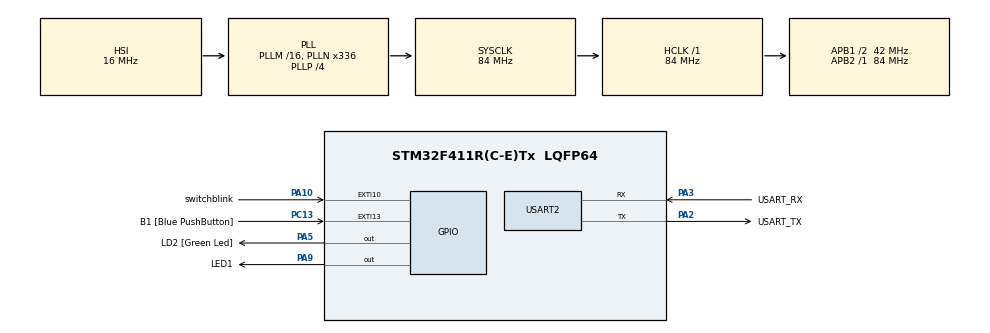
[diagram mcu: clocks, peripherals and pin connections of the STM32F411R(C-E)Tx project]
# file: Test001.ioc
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Mcu.Family=STM32F4
Mcu.Name=STM32F411R(C-E)Tx
Mcu.Package=LQFP64
NVIC.EXTI15_10_IRQn=true\:0\:0\:false\:false\:true\:true\:true\:true
NVIC.PriorityGroup=NVIC_PRIORITYGROUP_0
PA10.GPIO_Label=switchblink
PA10.Signal=GPXTI10
PA13.GPIO_Label=TMS
PA13.Mode=Serial_Wire
PA13.Signal=SYS_JTMS-SWDIO
PA14.GPIO_Label=TCK
PA14.Mode=Serial_Wire
PA14.Signal=SYS_JTCK-SWCLK
PA2.GPIO_Label=USART_TX
PA2.Mode=Asynchronous
PA2.Signal=USART2_TX
PA3.GPIO_Label=USART_RX
PA3.Mode=Asynchronous
PA3.Signal=USART2_RX
PA5.GPIO_Label=LD2 [Green Led]
PA5.Signal=GPIO_Output
PA9.GPIO_Label=LED1
PA9.Signal=GPIO_Output
PB3.GPIO_Label=SWO
PB3.Signal=SYS_JTDO-SWO
PC13-ANTI_TAMP.GPIO_Label=B1 [Blue PushButton]
PC13-ANTI_TAMP.GPIO_ModeDefaultEXTI=GPIO_MODE_IT_RISING
PC13-ANTI_TAMP.Signal=GPXTI13
PC14-OSC32_IN.Mode=LSE-External-Oscillator
PC14-OSC32_IN.Signal=RCC_OSC32_IN
PC15-OSC32_OUT.Mode=LSE-External-Oscillator
PC15-OSC32_OUT.Signal=RCC_OSC32_OUT
PH0\ -\ OSC_IN.Mode=HSE-External-Clock-Source
PH0\ -\ OSC_IN.Signal=RCC_OSC_IN
PH1\ -\ OSC_OUT.Mode=HSE-External-Clock-Source
PH1\ -\ OSC_OUT.Signal=RCC_OSC_OUT
ProjectManager.HeapSize=0x200
ProjectManager.StackSize=0x400
ProjectManager.TargetToolchain=STM32CubeIDE
RCC.48MHZClocksFreq_Value=84000000
RCC.AHBFreq_Value=84000000
RCC.APB1CLKDivider=RCC_HCLK_DIV2
RCC.APB1Freq_Value=42000000
RCC.APB1TimFreq_Value=84000000
RCC.APB2Freq_Value=84000000
RCC.APB2TimFreq_Value=84000000
RCC.CortexFreq_Value=84000000
RCC.FLatency-AdvancedSettings=FLASH_LATENCY_2
RCC.HCLKFreq_Value=84000000
RCC.HSE_VALUE=8000000
RCC.HSI_VALUE=16000000
RCC.PLLN=336
RCC.PLLP=RCC_PLLP_DIV4
RCC.SYSCLKFreq_VALUE=84000000
RCC.SYSCLKSource=RCC_SYSCLKSOURCE_PLLCLK
RCC.VCOOutputFreq_Value=336000000
USART2.VirtualMode=VM_ASYNC
board=NUCLEO-F411RE

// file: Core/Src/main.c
/* USER CODE BEGIN Header */
/**
  ******************************************************************************
  * @file           : main.c
  * @brief          : Main program body
  ******************************************************************************
  * @attention
  *
  * Copyright (c) 2024 STMicroelectronics.
  * All rights reserved.
  *
  * This software is licensed under terms that can be found in the LICENSE file
  * in the root directory of this software component.
  * If no LICENSE file comes with this software, it is provided AS-IS.
  *
  ******************************************************************************
  */
/* USER CODE END Header */
#include "main.h"

UART_HandleTypeDef huart2;

void SystemClock_Config(void);
static void MX_GPIO_Init(void);
static void MX_USART2_UART_Init(void);
/* USER CODE BEGIN PFP */
int ival = 1000;
/* USER CODE END PFP */

/* USER CODE BEGIN 0 */
void Standby()
{
		while(HAL_GPIO_ReadPin(B1_GPIO_Port, B1_Pin)); //wait until B1 == 0 (Press)
}
int mode = 0; // mode = 0 : Stop, mode = 1 : Flash
void HAL_GPIO_EXTI_Callback(uint16_t GPIO_Pin)
{
	  //if(!HAL_GPIO_ReadPin(B1_GPIOPort, B1_Pin))
	switch(GPIO_Pin)
	{
	case B1_Pin :
		mode=mode?0:1;
		break;
	case LED1_Pin :
		ival = (ival <= 200) ? 1000 : ival - 200;
		break;
	}
	}

	 		  //mode = mode?0:1;

/*	 	  }
	 	  if(GPIO_Pin == B1_Pin)
	 		 if(mode == 0)  mode = 1; else mode = 0;
	 	  else if(GPIO_Pin == switchblink_Pin)
	 		  delay -= 100;
	 	  if(delay < -1000)
	 		  delay = -800;
}*/

/* USER CODE END 0 */

int main(void)
{

  /* MCU Configuration--------------------------------------------------------*/

  /* Reset of all peripherals, Initializes the Flash interface and the Systick. */
  HAL_Init();

  /* Configure the system clock */
  SystemClock_Config();

  /* Initialize all configured peripherals */
  MX_GPIO_Init();
  MX_USART2_UART_Init();
  /* USER CODE BEGIN 2 */
//HAL_GPIO_WritePin(GPIOA, GPIO_PIN_5, 1); // PA5 : GPIOA / _5_

 /* Standby(); //wait until B1 == 0 (Press)

	  while (1)
	  {
	  HAL_GPIO_WritePin(LD2_GPIO_Port, LD2_Pin, 1);
	    HAL_Delay(1000); //mili second
	    HAL_GPIO_WritePin(LD2_GPIO_Port, LD2_Pin, 0);
	    HAL_Delay(1000);
	  }

*/

  /* USER CODE END 2 */

  /* Infinite loop */
  /* USER CODE BEGIN WHILE */
  while (1)
  {
	  if(mode)
		  {
			  HAL_GPIO_WritePin(LED1_GPIO_Port, LED1_Pin, 1);
			HAL_Delay(1000 + ival);
			HAL_GPIO_WritePin(LED1_GPIO_Port, LED1_Pin, 0);
			HAL_Delay(1000 + ival);
		  }

  }
    /* USER CODE END WHILE */

}

void SystemClock_Config(void)
{
  RCC_OscInitTypeDef RCC_OscInitStruct = {0};
  RCC_ClkInitTypeDef RCC_ClkInitStruct = {0};

  /** Configure the main internal regulator output voltage
  */
  __HAL_RCC_PWR_CLK_ENABLE();
  __HAL_PWR_VOLTAGESCALING_CONFIG(PWR_REGULATOR_VOLTAGE_SCALE1);

  /** Initializes the RCC Oscillators according to the specified parameters
  * in the RCC_OscInitTypeDef structure.
  */
  RCC_OscInitStruct.OscillatorType = RCC_OSCILLATORTYPE_HSI;
  RCC_OscInitStruct.HSIState = RCC_HSI_ON;
  RCC_OscInitStruct.HSICalibrationValue = RCC_HSICALIBRATION_DEFAULT;
  RCC_OscInitStruct.PLL.PLLState = RCC_PLL_ON;
  RCC_OscInitStruct.PLL.PLLSource = RCC_PLLSOURCE_HSI;
  RCC_OscInitStruct.PLL.PLLM = 16;
  RCC_OscInitStruct.PLL.PLLN = 336;
  RCC_OscInitStruct.PLL.PLLP = RCC_PLLP_DIV4;
  RCC_OscInitStruct.PLL.PLLQ = 4;
  if (HAL_RCC_OscConfig(&RCC_OscInitStruct) != HAL_OK)
  {
    Error_Handler();
  }

  /** Initializes the CPU, AHB and APB buses clocks
  */
  RCC_ClkInitStruct.ClockType = RCC_CLOCKTYPE_HCLK|RCC_CLOCKTYPE_SYSCLK
                              |RCC_CLOCKTYPE_PCLK1|RCC_CLOCKTYPE_PCLK2;
  RCC_ClkInitStruct.SYSCLKSource = RCC_SYSCLKSOURCE_PLLCLK;
  RCC_ClkInitStruct.AHBCLKDivider = RCC_SYSCLK_DIV1;
  RCC_ClkInitStruct.APB1CLKDivider = RCC_HCLK_DIV2;
  RCC_ClkInitStruct.APB2CLKDivider = RCC_HCLK_DIV1;

  if (HAL_RCC_ClockConfig(&RCC_ClkInitStruct, FLASH_LATENCY_2) != HAL_OK)
  {
    Error_Handler();
  }
}

static void MX_USART2_UART_Init(void)
{

  huart2.Instance = USART2;
  huart2.Init.BaudRate = 115200;
  huart2.Init.WordLength = UART_WORDLENGTH_8B;
  huart2.Init.StopBits = UART_STOPBITS_1;
  huart2.Init.Parity = UART_PARITY_NONE;
  huart2.Init.Mode = UART_MODE_TX_RX;
  huart2.Init.HwFlowCtl = UART_HWCONTROL_NONE;
  huart2.Init.OverSampling = UART_OVERSAMPLING_16;
  if (HAL_UART_Init(&huart2) != HAL_OK)
  {
    Error_Handler();
  }

}

static void MX_GPIO_Init(void)
{
  GPIO_InitTypeDef GPIO_InitStruct = {0};

  /* GPIO Ports Clock Enable */
  __HAL_RCC_GPIOC_CLK_ENABLE();
  __HAL_RCC_GPIOH_CLK_ENABLE();
  __HAL_RCC_GPIOA_CLK_ENABLE();
  __HAL_RCC_GPIOB_CLK_ENABLE();

  /*Configure GPIO pin Output Level */
  HAL_GPIO_WritePin(GPIOA, LD2_Pin|LED1_Pin, GPIO_PIN_RESET);

  /*Configure GPIO pin : B1_Pin */
  GPIO_InitStruct.Pin = B1_Pin;
  GPIO_InitStruct.Mode = GPIO_MODE_IT_RISING;
  GPIO_InitStruct.Pull = GPIO_NOPULL;
  HAL_GPIO_Init(B1_GPIO_Port, &GPIO_InitStruct);

  /*Configure GPIO pins : LD2_Pin LED1_Pin */
  GPIO_InitStruct.Pin = LD2_Pin|LED1_Pin;
  GPIO_InitStruct.Mode = GPIO_MODE_OUTPUT_PP;
  GPIO_InitStruct.Pull = GPIO_NOPULL;
  GPIO_InitStruct.Speed = GPIO_SPEED_FREQ_LOW;
  HAL_GPIO_Init(GPIOA, &GPIO_InitStruct);

  /*Configure GPIO pin : switchblink_Pin */
  GPIO_InitStruct.Pin = switchblink_Pin;
  GPIO_InitStruct.Mode = GPIO_MODE_IT_RISING;
  GPIO_InitStruct.Pull = GPIO_NOPULL;
  HAL_GPIO_Init(switchblink_GPIO_Port, &GPIO_InitStruct);

  /* EXTI interrupt init*/
  HAL_NVIC_SetPriority(EXTI15_10_IRQn, 0, 0);
  HAL_NVIC_EnableIRQ(EXTI15_10_IRQn);

}

void Error_Handler(void)
{
  __disable_irq();
  while (1)
  {
  }
}
